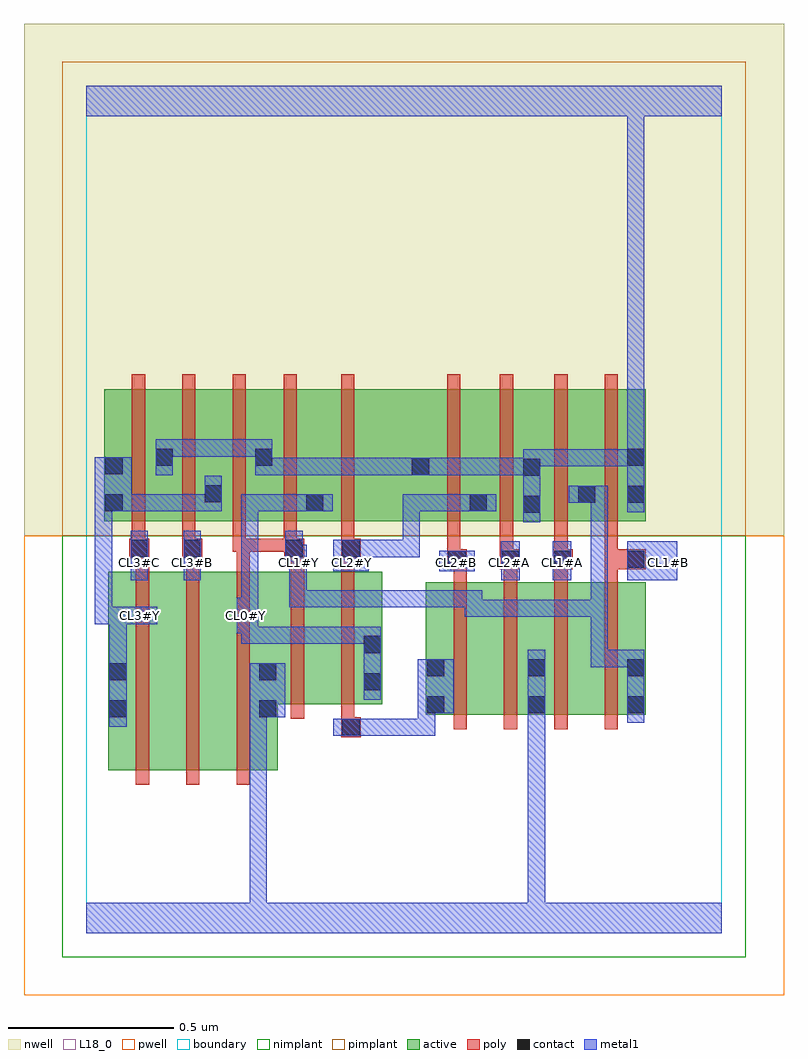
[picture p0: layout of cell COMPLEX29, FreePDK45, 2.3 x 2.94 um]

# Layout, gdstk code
import gdstk
lib = gdstk.Library(unit=1e-6, precision=1e-09)
def R(c, l, rs):  # rectangles x0, y0, x1, y1
    for r in rs: c.add(gdstk.rectangle(r[:2], r[2:], *l))
def A(c, l, x, y, w, h, nx, ny, dx, dy):  # array of equal rectangles
    R(c, l, [(x+i*dx, y+j*dy, x+i*dx+w, y+j*dy+h) for i in range(nx) for j in range(ny)])
active = (1, 0)
pwell = (2, 0)
nwell = (3, 0)
nimplant = (4, 0)
pimplant = (5, 0)
poly = (9, 0)
contact = (10, 0)
metal1 = (11, 0)
L18_0 = (18, 0)
boundary = (235, 0)

complex29 = lib.new_cell('COMPLEX29')
R(complex29, active, [(0.066,0.492,0.246,1.092), (0.246,0.492,0.398,1.092), (0.398,0.492,0.578,1.092), (0.518,0.492,0.578,1.092), (0.066,0.556,0.126,1.092), (1.026,0.66,1.086,1.06), (1.026,0.66,1.206,1.06), (1.206,0.66,1.39,1.06), (1.33,0.66,1.39,1.06), (1.33,0.66,1.51,1.06), (1.51,0.66,1.69,1.06), (1.63,0.66,1.69,1.06), (0.518,0.692,0.714,1.092), (0.714,0.692,0.894,1.092), (0.834,0.692,0.894,1.092), (0.054,1.244,0.114,1.644), (0.054,1.244,0.266,1.644), (0.206,1.244,0.266,1.644), (0.206,1.244,0.414,1.644), (0.354,1.244,0.414,1.644), (0.354,1.244,0.566,1.644), (0.506,1.244,0.566,1.644), (0.506,1.244,0.72,1.644), (0.66,1.244,0.72,1.644), (0.66,1.244,1.04,1.644), (0.98,1.244,1.04,1.644), (0.98,1.244,1.214,1.644), (1.154,1.244,1.214,1.644), (1.154,1.244,1.376,1.644), (1.316,1.244,1.376,1.644), (1.316,1.244,1.542,1.644), (1.482,1.244,1.542,1.644), (1.482,1.244,1.69,1.644), (1.63,1.244,1.69,1.644)])
R(complex29, pwell, [(-0.188,-0.188,2.108,1.2)])
R(complex29, nwell, [(-0.188,1.2,2.108,2.748)])
R(complex29, nimplant, [(-0.072,-0.072,1.992,1.2)])
R(complex29, pimplant, [(-0.072,1.2,1.992,2.632)])
A(complex29, poly, 0.15, 0.448, 0.04, 0.688, 3, 1, 0.152, 0)
A(complex29, poly, 1.11, 0.616, 0.04, 0.488, 4, 1, 0.152, 0)
A(complex29, poly, 1.11, 1.064, 0.04, 0.076, 4, 1, 0.152, 0)
A(complex29, poly, 1.09, 1.1, 0.06, 0.06, 3, 1, 0.16, 0)
A(complex29, poly, 0.138, 1.152, 0.04, 0.088, 3, 1, 0.152, 0)
A(complex29, poly, 0.138, 1.2, 0.04, 0.488, 3, 1, 0.152, 0)
R(complex29, poly, [(0.77,0.592,0.83,0.652), (0.77,0.612,0.81,0.688), (0.618,0.648,0.658,1.136), (0.77,0.648,0.81,1.136), (0.15,1.096,0.19,1.172), (0.302,1.096,0.342,1.172), (0.454,1.096,0.494,1.192), (0.618,1.096,0.658,1.172), (0.77,1.096,0.81,1.172), (1.11,1.1,1.15,1.14), (1.11,1.1,1.15,1.14), (1.262,1.1,1.302,1.14), (1.262,1.1,1.302,1.14), (1.414,1.1,1.454,1.14), (1.414,1.1,1.454,1.14), (1.566,1.1,1.606,1.14), (1.566,1.1,1.606,1.14), (1.566,1.1,1.69,1.16), (1.09,1.12,1.13,1.24), (1.25,1.12,1.29,1.24), (1.414,1.12,1.454,1.24), (1.566,1.12,1.606,1.24), (0.13,1.132,0.19,1.192), (0.15,1.132,0.19,1.172), (0.15,1.132,0.19,1.172), (0.29,1.132,0.35,1.192), (0.598,1.132,0.658,1.192), (0.77,1.132,0.81,1.172), (0.77,1.132,0.81,1.172), (0.77,1.132,0.83,1.192), (0.29,1.152,0.33,1.192), (0.29,1.152,0.33,1.192), (0.442,1.152,0.494,1.192), (0.454,1.152,0.494,1.192), (0.454,1.152,0.494,1.192), (0.454,1.152,0.494,1.192), (0.454,1.152,0.494,1.192), (0.454,1.152,0.636,1.192), (0.596,1.152,0.636,1.24), (0.596,1.152,0.638,1.192), (0.598,1.152,0.638,1.192), (0.77,1.152,0.81,1.24), (0.596,1.2,0.636,1.688), (0.77,1.2,0.81,1.688), (1.09,1.2,1.13,1.688), (1.25,1.2,1.29,1.688), (1.414,1.2,1.454,1.688), (1.566,1.2,1.606,1.688)])
A(complex29, contact, 1.094, 1.104, 0.052, 0.052, 3, 1, 0.16, 0)
R(complex29, contact, [(0.774,0.596,0.826,0.648), (0.07,0.652,0.122,0.704), (0.522,0.652,0.574,0.704), (1.03,0.664,1.082,0.716), (1.334,0.664,1.386,0.716), (1.634,0.664,1.686,0.716), (0.838,0.734,0.89,0.786), (0.07,0.764,0.122,0.816), (0.522,0.764,0.574,0.816), (1.03,0.776,1.082,0.828), (1.334,0.776,1.386,0.828), (1.634,0.776,1.686,0.828), (0.838,0.846,0.89,0.898), (1.634,1.104,1.686,1.156), (0.134,1.136,0.186,1.188), (0.294,1.136,0.346,1.188), (0.602,1.136,0.654,1.188), (0.774,1.136,0.826,1.188), (1.32,1.27,1.372,1.322), (0.058,1.274,0.11,1.326), (0.664,1.274,0.716,1.326), (1.158,1.274,1.21,1.326), (1.486,1.3,1.538,1.352), (1.634,1.3,1.686,1.352), (0.358,1.302,0.41,1.354), (1.32,1.382,1.372,1.434), (0.984,1.384,1.036,1.436), (0.058,1.386,0.11,1.438), (0.21,1.412,0.262,1.464), (0.51,1.412,0.562,1.464), (1.634,1.412,1.686,1.464)])
R(complex29, metal1, [(0,0,1.92,0.092), (0.494,0.04,0.546,0.092), (0.494,0.04,0.546,0.092), (0.494,0.04,0.546,0.092), (0.494,0.04,0.546,0.092), (0.494,0.04,0.546,0.092), (0.494,0.04,0.546,0.092), (0.494,0.04,0.546,0.704), (1.334,0.04,1.386,0.092), (1.334,0.04,1.386,0.092), (1.334,0.04,1.386,0.092), (1.334,0.04,1.386,0.092), (1.334,0.04,1.386,0.092), (1.334,0.04,1.386,0.092), (1.334,0.04,1.386,0.092), (1.334,0.04,1.386,0.092), (1.334,0.04,1.386,0.092), (1.334,0.04,1.386,0.092), (1.334,0.04,1.386,0.092), (1.334,0.04,1.386,0.092), (1.334,0.04,1.386,0.688), (0.746,0.596,0.854,0.648), (0.802,0.596,1.008,0.648), (0.956,0.596,1.008,0.648), (0.956,0.596,1.054,0.648), (1.002,0.596,1.054,0.648), (1.002,0.596,1.054,0.716), (0.07,0.624,0.122,0.844), (1.334,0.636,1.386,0.856), (1.634,0.636,1.686,0.856), (0.494,0.652,0.546,0.704), (0.494,0.652,0.546,0.704), (0.494,0.652,0.602,0.816), (1.002,0.664,1.11,0.828), (0.838,0.706,0.89,0.926), (0.07,0.792,0.122,0.986), (1.524,0.804,1.576,0.856), (1.524,0.804,1.686,0.856), (1.524,0.804,1.576,1.008), (1.634,0.804,1.686,0.856), (1.634,0.804,1.686,0.856), (0.468,0.874,0.52,0.926), (0.468,0.874,0.52,0.926), (0.468,0.874,0.52,0.926), (0.468,0.874,0.78,0.926), (0.468,0.874,0.52,0.958), (0.728,0.874,0.78,0.926), (0.728,0.874,0.78,0.926), (0.728,0.874,0.78,0.926), (0.728,0.874,0.89,0.926), (0.454,0.906,0.52,1.014), (0.026,0.934,0.078,0.986), (0.026,0.934,0.078,0.986), (0.026,0.934,0.078,1.326), (0.026,0.934,0.214,0.986), (1.144,0.956,1.196,1.008), (1.144,0.956,1.196,1.008), (1.144,0.956,1.348,1.008), (1.144,0.956,1.196,1.036), (1.296,0.956,1.348,1.008), (1.296,0.956,1.348,1.008), (1.296,0.956,1.348,1.008), (1.296,0.956,1.576,1.008), (1.524,0.956,1.576,1.008), (1.524,0.956,1.576,1.008), (1.524,0.956,1.576,1.008), (1.524,0.956,1.576,1.352), (0.468,0.962,0.52,1.326), (0.614,0.984,0.666,1.174), (0.614,0.984,0.764,1.036), (0.712,0.984,0.764,1.036), (0.712,0.984,1.008,1.036), (0.956,0.984,1.008,1.036), (0.956,0.984,1.008,1.036), (0.956,0.984,1.008,1.036), (0.956,0.984,1.196,1.036), (0.134,1.066,0.186,1.216), (0.294,1.066,0.346,1.216), (1.254,1.066,1.31,1.184), (1.41,1.066,1.466,1.184), (1.634,1.066,1.786,1.184), (0.746,1.094,0.854,1.188), (1.066,1.094,1.174,1.156), (0.602,1.108,0.666,1.16), (0.602,1.108,0.654,1.216), (0.802,1.136,1.008,1.188), (0.956,1.136,1.008,1.188), (0.956,1.136,1.008,1.188), (0.956,1.136,1.008,1.188), (0.956,1.136,1.008,1.326), (1.32,1.242,1.372,1.462), (1.634,1.272,1.686,1.492), (0.026,1.274,0.138,1.438), (0.086,1.274,0.138,1.326), (0.086,1.274,0.138,1.326), (0.086,1.274,0.266,1.326), (0.214,1.274,0.266,1.326), (0.214,1.274,0.266,1.326), (0.214,1.274,0.266,1.326), (0.214,1.274,0.41,1.326), (0.358,1.274,0.41,1.382), (0.468,1.274,0.52,1.326), (0.468,1.274,0.52,1.326), (0.468,1.274,0.52,1.326), (0.468,1.274,0.688,1.326), (0.636,1.274,0.688,1.326), (0.636,1.274,0.688,1.326), (0.636,1.274,0.744,1.326), (0.956,1.274,1.008,1.326), (0.956,1.274,1.182,1.326), (1.13,1.274,1.182,1.326), (1.13,1.274,1.182,1.326), (1.13,1.274,1.238,1.326), (1.458,1.3,1.576,1.352), (1.524,1.3,1.576,1.352), (1.524,1.3,1.576,1.352), (0.21,1.384,0.262,1.492), (0.51,1.384,0.562,1.436), (0.51,1.384,0.562,1.436), (0.51,1.384,0.712,1.436), (0.51,1.384,0.562,1.492), (0.66,1.384,0.712,1.436), (0.66,1.384,0.898,1.436), (0.846,1.384,0.898,1.436), (0.846,1.384,0.898,1.436), (0.846,1.384,0.898,1.436), (0.846,1.384,1.008,1.436), (0.956,1.384,1.064,1.436), (1.012,1.384,1.196,1.436), (1.144,1.384,1.196,1.436), (1.144,1.384,1.196,1.436), (1.144,1.384,1.196,1.436), (1.144,1.384,1.352,1.436), (1.3,1.384,1.352,1.436), (1.3,1.384,1.372,1.436), (1.32,1.41,1.576,1.462), (1.524,1.41,1.576,1.462), (1.524,1.41,1.576,1.462), (1.524,1.41,1.576,1.462), (1.524,1.41,1.686,1.462), (1.634,1.41,1.686,1.462), (1.634,1.41,1.686,1.462), (0.21,1.44,0.262,1.492), (0.21,1.44,0.262,1.492), (0.21,1.44,0.396,1.492), (0.344,1.44,0.396,1.492), (0.344,1.44,0.396,1.492), (0.344,1.44,0.396,1.492), (0.344,1.44,0.562,1.492), (1.634,1.44,1.686,1.492), (1.634,1.44,1.686,1.492), (1.634,1.44,1.686,1.492), (1.634,1.44,1.686,1.492), (1.634,1.44,1.686,1.492), (1.634,1.44,1.686,1.492), (1.634,1.44,1.686,1.492), (1.634,1.44,1.686,1.492), (1.634,1.44,1.686,1.492), (1.634,1.44,1.686,1.492), (1.634,1.44,1.686,2.52), (0,2.468,1.92,2.56), (1.634,2.468,1.686,2.52), (1.634,2.468,1.686,2.52), (1.634,2.468,1.686,2.52), (1.634,2.468,1.686,2.52), (1.634,2.468,1.686,2.52), (1.634,2.468,1.686,2.52)])
A(complex29, L18_0, 1.094, 1.094, 0.052, 0.052, 3, 1, 0.16, 0)
R(complex29, L18_0, [(0,0,1.92,0.092), (0.494,0.04,0.546,0.092), (0.494,0.04,0.546,0.092), (0.494,0.04,0.546,0.092), (0.494,0.04,0.546,0.092), (0.494,0.04,0.546,0.092), (0.494,0.04,0.546,0.092), (0.494,0.04,0.546,0.704), (1.334,0.04,1.386,0.092), (1.334,0.04,1.386,0.092), (1.334,0.04,1.386,0.092), (1.334,0.04,1.386,0.092), (1.334,0.04,1.386,0.092), (1.334,0.04,1.386,0.092), (1.334,0.04,1.386,0.092), (1.334,0.04,1.386,0.092), (1.334,0.04,1.386,0.092), (1.334,0.04,1.386,0.092), (1.334,0.04,1.386,0.092), (1.334,0.04,1.386,0.092), (1.334,0.04,1.386,0.688), (0.746,0.596,0.854,0.648), (0.802,0.596,1.008,0.648), (0.956,0.596,1.008,0.648), (0.956,0.596,1.054,0.648), (1.002,0.596,1.054,0.648), (1.002,0.596,1.054,0.716), (0.07,0.624,0.122,0.844), (1.334,0.636,1.386,0.856), (1.634,0.636,1.686,0.856), (0.494,0.652,0.546,0.704), (0.494,0.652,0.546,0.704), (0.494,0.652,0.602,0.816), (1.002,0.664,1.11,0.828), (0.838,0.706,0.89,0.926), (0.07,0.792,0.122,0.986), (1.524,0.804,1.576,0.856), (1.524,0.804,1.686,0.856), (1.524,0.804,1.576,1.008), (1.634,0.804,1.686,0.856), (1.634,0.804,1.686,0.856), (0.468,0.874,0.52,0.926), (0.468,0.874,0.52,0.926), (0.468,0.874,0.52,0.926), (0.468,0.874,0.52,0.958), (0.468,0.874,0.78,0.926), (0.728,0.874,0.78,0.926), (0.728,0.874,0.78,0.926), (0.728,0.874,0.78,0.926), (0.728,0.874,0.89,0.926), (0.454,0.906,0.52,1.014), (0.026,0.934,0.214,0.986), (0.026,0.934,0.078,0.986), (0.026,0.934,0.078,0.986), (0.026,0.934,0.078,1.326), (0.134,0.934,0.186,0.986), (0.454,0.934,0.506,0.986), (1.144,0.956,1.196,1.008), (1.144,0.956,1.196,1.008), (1.144,0.956,1.196,1.036), (1.144,0.956,1.348,1.008), (1.296,0.956,1.348,1.008), (1.296,0.956,1.348,1.008), (1.296,0.956,1.348,1.008), (1.296,0.956,1.576,1.008), (1.524,0.956,1.576,1.008), (1.524,0.956,1.576,1.008), (1.524,0.956,1.576,1.008), (1.524,0.956,1.576,1.352), (0.468,0.962,0.52,1.326), (0.614,0.984,0.666,1.174), (0.614,0.984,0.764,1.036), (0.712,0.984,0.764,1.036), (0.712,0.984,1.008,1.036), (0.956,0.984,1.008,1.036), (0.956,0.984,1.008,1.036), (0.956,0.984,1.008,1.036), (0.956,0.984,1.196,1.036), (0.134,1.066,0.186,1.216), (0.294,1.066,0.346,1.216), (1.254,1.066,1.31,1.184), (1.41,1.066,1.466,1.184), (1.634,1.066,1.786,1.184), (0.134,1.094,0.186,1.146), (0.294,1.094,0.346,1.146), (0.614,1.094,0.666,1.146), (0.746,1.094,0.854,1.188), (0.774,1.094,0.826,1.146), (1.066,1.094,1.174,1.156), (1.734,1.094,1.786,1.146), (0.602,1.108,0.654,1.216), (0.602,1.108,0.666,1.16), (0.802,1.136,1.008,1.188), (0.956,1.136,1.008,1.188), (0.956,1.136,1.008,1.188), (0.956,1.136,1.008,1.188), (0.956,1.136,1.008,1.326), (1.32,1.242,1.372,1.462), (1.634,1.272,1.686,1.492), (0.026,1.274,0.138,1.438), (0.086,1.274,0.138,1.326), (0.086,1.274,0.138,1.326), (0.086,1.274,0.266,1.326), (0.214,1.274,0.266,1.326), (0.214,1.274,0.266,1.326), (0.214,1.274,0.266,1.326), (0.214,1.274,0.41,1.326), (0.358,1.274,0.41,1.382), (0.468,1.274,0.52,1.326), (0.468,1.274,0.52,1.326), (0.468,1.274,0.52,1.326), (0.468,1.274,0.688,1.326), (0.636,1.274,0.688,1.326), (0.636,1.274,0.688,1.326), (0.636,1.274,0.744,1.326), (0.956,1.274,1.008,1.326), (0.956,1.274,1.182,1.326), (1.13,1.274,1.182,1.326), (1.13,1.274,1.182,1.326), (1.13,1.274,1.238,1.326), (1.458,1.3,1.576,1.352), (1.524,1.3,1.576,1.352), (1.524,1.3,1.576,1.352), (0.21,1.384,0.262,1.492), (0.51,1.384,0.562,1.436), (0.51,1.384,0.562,1.436), (0.51,1.384,0.562,1.492), (0.51,1.384,0.712,1.436), (0.66,1.384,0.712,1.436), (0.66,1.384,0.898,1.436), (0.846,1.384,0.898,1.436), (0.846,1.384,0.898,1.436), (0.846,1.384,0.898,1.436), (0.846,1.384,1.008,1.436), (0.956,1.384,1.064,1.436), (1.012,1.384,1.196,1.436), (1.144,1.384,1.196,1.436), (1.144,1.384,1.196,1.436), (1.144,1.384,1.196,1.436), (1.144,1.384,1.352,1.436), (1.3,1.384,1.352,1.436), (1.3,1.384,1.372,1.436), (1.32,1.41,1.576,1.462), (1.524,1.41,1.576,1.462), (1.524,1.41,1.576,1.462), (1.524,1.41,1.576,1.462), (1.524,1.41,1.686,1.462), (1.634,1.41,1.686,1.462), (1.634,1.41,1.686,1.462), (0.21,1.44,0.262,1.492), (0.21,1.44,0.262,1.492), (0.21,1.44,0.396,1.492), (0.344,1.44,0.396,1.492), (0.344,1.44,0.396,1.492), (0.344,1.44,0.396,1.492), (0.344,1.44,0.562,1.492), (1.634,1.44,1.686,1.492), (1.634,1.44,1.686,1.492), (1.634,1.44,1.686,1.492), (1.634,1.44,1.686,1.492), (1.634,1.44,1.686,1.492), (1.634,1.44,1.686,1.492), (1.634,1.44,1.686,1.492), (1.634,1.44,1.686,1.492), (1.634,1.44,1.686,1.492), (1.634,1.44,1.686,1.492), (1.634,1.44,1.686,2.52), (0,2.468,1.92,2.56), (1.634,2.468,1.686,2.52), (1.634,2.468,1.686,2.52), (1.634,2.468,1.686,2.52), (1.634,2.468,1.686,2.52), (1.634,2.468,1.686,2.52), (1.634,2.468,1.686,2.52)])
R(complex29, boundary, [(0,0,1.92,2.56)])
complex29.add(gdstk.Label('CL0#Y', (0.48,0.96), layer=11, texttype=0))
complex29.add(gdstk.Label('CL1#A', (1.44,1.12), layer=11, texttype=0))
complex29.add(gdstk.Label('CL1#B', (1.76,1.12), layer=11, texttype=0))
complex29.add(gdstk.Label('CL1#Y', (0.64,1.12), layer=11, texttype=0))
complex29.add(gdstk.Label('CL2#A', (1.28,1.12), layer=11, texttype=0))
complex29.add(gdstk.Label('CL2#B', (1.12,1.12), layer=11, texttype=0))
complex29.add(gdstk.Label('CL2#Y', (0.8,1.12), layer=11, texttype=0))
complex29.add(gdstk.Label('CL3#B', (0.32,1.12), layer=11, texttype=0))
complex29.add(gdstk.Label('CL3#C', (0.16,1.12), layer=11, texttype=0))
complex29.add(gdstk.Label('CL3#Y', (0.16,0.96), layer=11, texttype=0))

lib.write_gds('COMPLEX29.gds')
